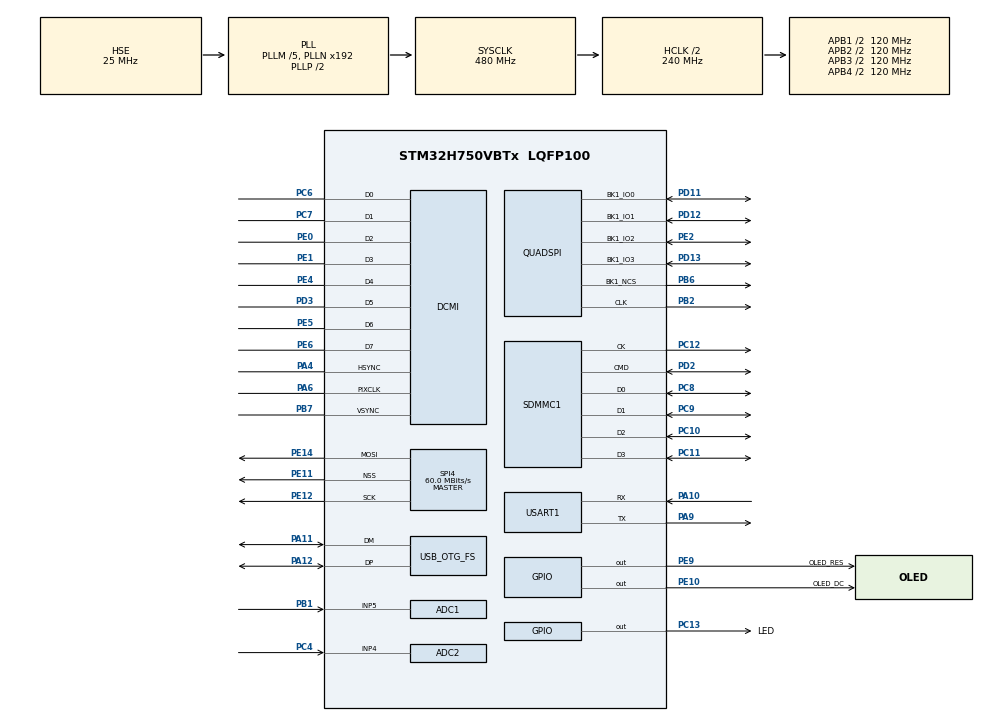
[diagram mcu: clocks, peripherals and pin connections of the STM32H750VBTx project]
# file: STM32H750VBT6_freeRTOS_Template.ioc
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ADC1.Channel-1\#ChannelRegularConversion=ADC_CHANNEL_5
ADC1.ClockPrescaler=ADC_CLOCK_ASYNC_DIV2
ADC1.ClockPrescalerADC3=ADC_CLOCK_ASYNC_DIV2
ADC1.ContinuousConvMode=ENABLE
ADC1.ConversionDataManagement=ADC_CONVERSIONDATA_DMA_CIRCULAR
ADC1.DiscontinuousConvMode=DISABLE
ADC1.EOCSelection=ADC_EOC_SINGLE_CONV
ADC1.LowPowerAutoWait=DISABLE
ADC1.Mode=ADC_MODE_INDEPENDENT
ADC1.NbrOfConversion=1
ADC1.NbrOfConversionFlag=1
ADC1.OffsetNumber-1\#ChannelRegularConversion=ADC_OFFSET_NONE
ADC1.OffsetSignedSaturation-1\#ChannelRegularConversion=DISABLE
ADC1.Rank-1\#ChannelRegularConversion=1
ADC1.SamplingTime-1\#ChannelRegularConversion=ADC_SAMPLETIME_810CYCLES_5
ADC1.master=1
ADC2.Channel-2\#ChannelRegularConversion=ADC_CHANNEL_4
ADC2.ClockPrescaler=ADC_CLOCK_ASYNC_DIV2
ADC2.ClockPrescalerADC3=ADC_CLOCK_ASYNC_DIV2
ADC2.ContinuousConvMode=ENABLE
ADC2.ConversionDataManagement=ADC_CONVERSIONDATA_DMA_CIRCULAR
ADC2.NbrOfConversionFlag=1
ADC2.OffsetNumber-2\#ChannelRegularConversion=ADC_OFFSET_NONE
ADC2.OffsetSignedSaturation-2\#ChannelRegularConversion=DISABLE
ADC2.Rank-2\#ChannelRegularConversion=1
ADC2.SamplingTime-2\#ChannelRegularConversion=ADC_SAMPLETIME_810CYCLES_5
ADC3.Channel-0\#ChannelRegularConversion=ADC_CHANNEL_TEMPSENSOR
ADC3.ClockPrescalerADC3=ADC_CLOCK_ASYNC_DIV2
ADC3.ContinuousConvMode=ENABLE
ADC3.NbrOfConversionFlag=1
ADC3.OffsetNumber-0\#ChannelRegularConversion=ADC_OFFSET_NONE
ADC3.OffsetSignedSaturation-0\#ChannelRegularConversion=DISABLE
ADC3.Rank-0\#ChannelRegularConversion=1
ADC3.SamplingTime-0\#ChannelRegularConversion=ADC_SAMPLETIME_810CYCLES_5
CORTEX_M7.AccessPermission_S-Cortex_Memory_Protection_Unit_Region1_Settings_S=MPU_REGION_FULL_ACCESS
CORTEX_M7.AccessPermission_S-Cortex_Memory_Protection_Unit_Region2_Settings_S=MPU_REGION_FULL_ACCESS
CORTEX_M7.AccessPermission_Spec=MPU_REGION_FULL_ACCESS
CORTEX_M7.BaseAddress_S-Cortex_Memory_Protection_Unit_Region1_Settings_S=0x30000000
CORTEX_M7.BaseAddress_S-Cortex_Memory_Protection_Unit_Region2_Settings_S=0x24040000
CORTEX_M7.BaseAddress_Spec=0x0000
CORTEX_M7.CPU_DCache=Enabled
CORTEX_M7.CPU_ICache=Enabled
CORTEX_M7.DisableExec_Spec=MPU_INSTRUCTION_ACCESS_ENABLE
CORTEX_M7.Enable_S-Cortex_Memory_Protection_Unit_Region1_Settings_S=MPU_REGION_ENABLE
CORTEX_M7.Enable_S-Cortex_Memory_Protection_Unit_Region2_Settings_S=MPU_REGION_ENABLE
CORTEX_M7.IsBufferable_Spec=MPU_ACCESS_BUFFERABLE
CORTEX_M7.IsCacheable_Spec=MPU_ACCESS_CACHEABLE
CORTEX_M7.IsShareable_S-Cortex_Memory_Protection_Unit_Region1_Settings_S=MPU_ACCESS_SHAREABLE
CORTEX_M7.IsShareable_S-Cortex_Memory_Protection_Unit_Region2_Settings_S=MPU_ACCESS_SHAREABLE
CORTEX_M7.IsShareable_Spec=MPU_ACCESS_NOT_SHAREABLE
CORTEX_M7.Size_S-Cortex_Memory_Protection_Unit_Region1_Settings_S=MPU_REGION_SIZE_32KB
CORTEX_M7.Size_S-Cortex_Memory_Protection_Unit_Region2_Settings_S=MPU_REGION_SIZE_256KB
CORTEX_M7.Size_Spec=MPU_REGION_SIZE_4GB
CORTEX_M7.SubRegionDisable_S-Cortex_Memory_Protection_Unit_Region2_Settings_S=0x0
CORTEX_M7.SubRegionDisable_Spec=0x87
CORTEX_M7.TypeExtField_Spec=MPU_TEX_LEVEL1
CORTEX_M7.default_mode_Activation=1
Dma.ADC1.0.Direction=DMA_PERIPH_TO_MEMORY
Dma.ADC1.0.EventEnable=DISABLE
Dma.ADC1.0.FIFOMode=DMA_FIFOMODE_DISABLE
Dma.ADC1.0.Instance=DMA1_Stream0
Dma.ADC1.0.MemDataAlignment=DMA_MDATAALIGN_HALFWORD
Dma.ADC1.0.MemInc=DMA_MINC_ENABLE
Dma.ADC1.0.Mode=DMA_CIRCULAR
Dma.ADC1.0.PeriphDataAlignment=DMA_PDATAALIGN_HALFWORD
Dma.ADC1.0.PeriphInc=DMA_PINC_DISABLE
Dma.ADC1.0.Polarity=HAL_DMAMUX_REQ_GEN_RISING
Dma.ADC1.0.Priority=DMA_PRIORITY_LOW
Dma.ADC1.0.RequestNumber=1
Dma.ADC1.0.SignalID=NONE
Dma.ADC1.0.SyncEnable=DISABLE
Dma.ADC1.0.SyncPolarity=HAL_DMAMUX_SYNC_NO_EVENT
Dma.ADC1.0.SyncRequestNumber=1
Dma.ADC1.0.SyncSignalID=NONE
Dma.ADC2.1.Direction=DMA_PERIPH_TO_MEMORY
Dma.ADC2.1.EventEnable=DISABLE
Dma.ADC2.1.FIFOMode=DMA_FIFOMODE_DISABLE
Dma.ADC2.1.Instance=DMA1_Stream1
Dma.ADC2.1.MemDataAlignment=DMA_MDATAALIGN_HALFWORD
Dma.ADC2.1.MemInc=DMA_MINC_ENABLE
Dma.ADC2.1.Mode=DMA_CIRCULAR
Dma.ADC2.1.PeriphDataAlignment=DMA_PDATAALIGN_HALFWORD
Dma.ADC2.1.PeriphInc=DMA_PINC_DISABLE
Dma.ADC2.1.Polarity=HAL_DMAMUX_REQ_GEN_RISING
Dma.ADC2.1.Priority=DMA_PRIORITY_LOW
Dma.ADC2.1.RequestNumber=1
Dma.ADC2.1.SignalID=NONE
Dma.ADC2.1.SyncEnable=DISABLE
Dma.ADC2.1.SyncPolarity=HAL_DMAMUX_SYNC_NO_EVENT
Dma.ADC2.1.SyncRequestNumber=1
Dma.ADC2.1.SyncSignalID=NONE
Dma.DCMI.2.Direction=DMA_PERIPH_TO_MEMORY
Dma.DCMI.2.EventEnable=DISABLE
Dma.DCMI.2.FIFOMode=DMA_FIFOMODE_ENABLE
Dma.DCMI.2.FIFOThreshold=DMA_FIFO_THRESHOLD_FULL
Dma.DCMI.2.Instance=DMA2_Stream7
Dma.DCMI.2.MemBurst=DMA_MBURST_SINGLE
Dma.DCMI.2.MemDataAlignment=DMA_MDATAALIGN_WORD
Dma.DCMI.2.MemInc=DMA_MINC_ENABLE
Dma.DCMI.2.Mode=DMA_NORMAL
Dma.DCMI.2.PeriphBurst=DMA_PBURST_SINGLE
Dma.DCMI.2.PeriphDataAlignment=DMA_PDATAALIGN_WORD
Dma.DCMI.2.PeriphInc=DMA_PINC_DISABLE
Dma.DCMI.2.Polarity=HAL_DMAMUX_REQ_GEN_RISING
Dma.DCMI.2.Priority=DMA_PRIORITY_LOW
Dma.DCMI.2.RequestNumber=1
Dma.DCMI.2.SignalID=NONE
Dma.DCMI.2.SyncEnable=DISABLE
Dma.DCMI.2.SyncPolarity=HAL_DMAMUX_SYNC_NO_EVENT
Dma.DCMI.2.SyncRequestNumber=1
Dma.DCMI.2.SyncSignalID=NONE
Dma.Request0=ADC1
Dma.Request1=ADC2
Dma.Request2=DCMI
FREERTOS.Mutexes01=UsbTxMutex,Dynamic,NULL,Available;LCDMutex,Dynamic,NULL,Available
FREERTOS.Queues01=ADCData_Queue,16,uint16_t,0,Dynamic,NULL,NULL
FREERTOS.Tasks01=Init_Task,40,128,Init_Handler,Default,NULL,Dynamic,NULL,NULL;SysMon_Task,8,512,SysMon_Handler,Default,NULL,Dynamic,NULL,NULL;ADC1_Task,32,128,ADC1_Handler,Default,NULL,Dynamic,NULL,NULL;ADC2_Task,32,128,ADC2_Handler,Default,NULL,Dynamic,NULL,NULL;ADC3_Task,16,128,ADC3_Handler,Default,NULL,Dynamic,NULL,NULL;Console_Task,16,1024,Console_Handler,Default,NULL,Dynamic,NULL,NULL
FREERTOS.configCHECK_FOR_STACK_OVERFLOW=2
FREERTOS.configENABLE_FPU=1
FREERTOS.configGENERATE_RUN_TIME_STATS=1
FREERTOS.configMAX_TASK_NAME_LEN=32
FREERTOS.configUSE_MALLOC_FAILED_HOOK=1
FREERTOS.configUSE_NEWLIB_REENTRANT=0
FREERTOS.configUSE_STATS_FORMATTING_FUNCTIONS=1
Mcu.Family=STM32H7
Mcu.Name=STM32H750VBTx
Mcu.Package=LQFP100
NVIC.DCMI_IRQn=true\:5\:0\:false\:false\:true\:true\:true\:true\:true
NVIC.DMA1_Stream0_IRQn=true\:5\:0\:false\:false\:true\:true\:false\:true\:true
NVIC.DMA1_Stream1_IRQn=true\:5\:0\:false\:false\:true\:true\:false\:true\:true
NVIC.DMA2_Stream7_IRQn=true\:5\:0\:false\:false\:true\:true\:false\:true\:true
NVIC.OTG_FS_IRQn=true\:5\:0\:false\:false\:true\:true\:true\:true\:true
NVIC.PriorityGroup=NVIC_PRIORITYGROUP_4
NVIC.QUADSPI_IRQn=true\:5\:0\:false\:false\:true\:true\:true\:true\:true
NVIC.SDMMC1_IRQn=true\:5\:0\:false\:false\:true\:true\:true\:true\:true
NVIC.TIM6_DAC_IRQn=true\:15\:0\:false\:false\:true\:false\:false\:true\:true
NVIC.TimeBase=TIM6_DAC_IRQn
NVIC.TimeBaseIP=TIM6
PA10.GPIO_Speed=GPIO_SPEED_FREQ_VERY_HIGH
PA10.Mode=Asynchronous
PA10.Signal=USART1_RX
PA11.Mode=Device_Only
PA11.Signal=USB_OTG_FS_DM
PA12.Mode=Device_Only
PA12.Signal=USB_OTG_FS_DP
PA13\ (JTMS/SWDIO).Mode=Serial_Wire
PA13\ (JTMS/SWDIO).Signal=DEBUG_JTMS-SWDIO
PA14\ (JTCK/SWCLK).Mode=Serial_Wire
PA14\ (JTCK/SWCLK).Signal=DEBUG_JTCK-SWCLK
PA4.GPIO_Speed=GPIO_SPEED_FREQ_VERY_HIGH
PA4.Mode=Slave_8_bits_External_Synchro
PA4.Signal=DCMI_HSYNC
PA6.GPIO_Speed=GPIO_SPEED_FREQ_VERY_HIGH
PA6.Mode=Slave_8_bits_External_Synchro
PA6.Signal=DCMI_PIXCLK
PA9.GPIO_Speed=GPIO_SPEED_FREQ_VERY_HIGH
PA9.Mode=Asynchronous
PA9.Signal=USART1_TX
PB1.Signal=ADCx_INP5
PB2.GPIO_Speed=GPIO_SPEED_FREQ_VERY_HIGH
PB2.Mode=Single Bank 1
PB2.Signal=QUADSPI_CLK
PB6.GPIO_Speed=GPIO_SPEED_FREQ_VERY_HIGH
PB6.Mode=Single Bank 1
PB6.Signal=QUADSPI_BK1_NCS
PB7.GPIO_Speed=GPIO_SPEED_FREQ_VERY_HIGH
PB7.Mode=Slave_8_bits_External_Synchro
PB7.Signal=DCMI_VSYNC
PC10.Mode=SD_4_bits_Wide_bus
PC10.Signal=SDMMC1_D2
PC11.Mode=SD_4_bits_Wide_bus
PC11.Signal=SDMMC1_D3
PC12.Mode=SD_4_bits_Wide_bus
PC12.Signal=SDMMC1_CK
PC13.GPIO_Label=LED
PC13.Signal=GPIO_Output
PC14-OSC32_IN\ (OSC32_IN).Mode=LSE-External-Oscillator
PC14-OSC32_IN\ (OSC32_IN).Signal=RCC_OSC32_IN
PC15-OSC32_OUT\ (OSC32_OUT).Mode=LSE-External-Oscillator
PC15-OSC32_OUT\ (OSC32_OUT).Signal=RCC_OSC32_OUT
PC4.Signal=ADCx_INP4
PC6.GPIO_Speed=GPIO_SPEED_FREQ_VERY_HIGH
PC6.Mode=Slave_8_bits_External_Synchro
PC6.Signal=DCMI_D0
PC7.GPIO_Speed=GPIO_SPEED_FREQ_VERY_HIGH
PC7.Mode=Slave_8_bits_External_Synchro
PC7.Signal=DCMI_D1
PC8.Mode=SD_4_bits_Wide_bus
PC8.Signal=SDMMC1_D0
PC9.Mode=SD_4_bits_Wide_bus
PC9.Signal=SDMMC1_D1
PD11.GPIO_Speed=GPIO_SPEED_FREQ_VERY_HIGH
PD11.Mode=Single Bank 1
PD11.Signal=QUADSPI_BK1_IO0
PD12.GPIO_Speed=GPIO_SPEED_FREQ_VERY_HIGH
PD12.Mode=Single Bank 1
PD12.Signal=QUADSPI_BK1_IO1
PD13.GPIO_Speed=GPIO_SPEED_FREQ_VERY_HIGH
PD13.Mode=Single Bank 1
PD13.Signal=QUADSPI_BK1_IO3
PD2.Mode=SD_4_bits_Wide_bus
PD2.Signal=SDMMC1_CMD
PD3.GPIO_Speed=GPIO_SPEED_FREQ_VERY_HIGH
PD3.Mode=Slave_8_bits_External_Synchro
PD3.Signal=DCMI_D5
PE0.GPIO_Speed=GPIO_SPEED_FREQ_VERY_HIGH
PE0.Mode=Slave_8_bits_External_Synchro
PE0.Signal=DCMI_D2
PE1.GPIO_Speed=GPIO_SPEED_FREQ_VERY_HIGH
PE1.Mode=Slave_8_bits_External_Synchro
PE1.Signal=DCMI_D3
PE10.GPIO_Label=OLED_DC
PE10.GPIO_Speed=GPIO_SPEED_FREQ_VERY_HIGH
PE10.Signal=GPIO_Output
PE11.GPIO_Speed=GPIO_SPEED_FREQ_VERY_HIGH
PE11.Mode=NSS_Signal_Hard_Output
PE11.Signal=SPI4_NSS
PE12.GPIO_Speed=GPIO_SPEED_FREQ_VERY_HIGH
PE12.Mode=TX_Only_Simplex_Unidirect_Master
PE12.Signal=SPI4_SCK
PE14.GPIO_Speed=GPIO_SPEED_FREQ_VERY_HIGH
PE14.Mode=TX_Only_Simplex_Unidirect_Master
PE14.Signal=SPI4_MOSI
PE2.GPIO_Speed=GPIO_SPEED_FREQ_VERY_HIGH
PE2.Mode=Single Bank 1
PE2.Signal=QUADSPI_BK1_IO2
PE4.GPIO_Speed=GPIO_SPEED_FREQ_VERY_HIGH
PE4.Mode=Slave_8_bits_External_Synchro
PE4.Signal=DCMI_D4
PE5.GPIO_Speed=GPIO_SPEED_FREQ_VERY_HIGH
PE5.Mode=Slave_8_bits_External_Synchro
PE5.Signal=DCMI_D6
PE6.GPIO_Speed=GPIO_SPEED_FREQ_VERY_HIGH
PE6.Mode=Slave_8_bits_External_Synchro
PE6.Signal=DCMI_D7
PE9.GPIO_Label=OLED_RES
PE9.Signal=GPIO_Output
PH0-OSC_IN\ (PH0).Mode=HSE-External-Oscillator
PH0-OSC_IN\ (PH0).Signal=RCC_OSC_IN
PH1-OSC_OUT\ (PH1).Mode=HSE-External-Oscillator
PH1-OSC_OUT\ (PH1).Signal=RCC_OSC_OUT
ProjectManager.HeapSize=0x600
ProjectManager.StackSize=0x1000
ProjectManager.TargetToolchain=MDK-ARM V5.32
QUADSPI.ChipSelectHighTime=QSPI_CS_HIGH_TIME_2_CYCLE
QUADSPI.ClockMode=QSPI_CLOCK_MODE_0
QUADSPI.ClockPrescaler=2
QUADSPI.FifoThreshold=32
QUADSPI.FlashSize=23
QUADSPI.SampleShifting=QSPI_SAMPLE_SHIFTING_HALFCYCLE
RCC.ADCFreq_Value=72000000
RCC.APB1Freq_Value=120000000
RCC.APB2Freq_Value=120000000
RCC.APB3Freq_Value=120000000
RCC.APB4Freq_Value=120000000
RCC.CortexFreq_Value=480000000
RCC.D1PPRE=RCC_APB3_DIV2
RCC.D2PPRE1=RCC_APB1_DIV2
RCC.D2PPRE2=RCC_APB2_DIV2
RCC.D3PPRE=RCC_APB4_DIV2
RCC.DIVM1=5
RCC.DIVM2=5
RCC.DIVN1=192
RCC.DIVN2=72
RCC.DIVP2=5
RCC.DIVQ1=4
RCC.EnbaleCSS=true
RCC.HCLKFreq_Value=240000000
RCC.HPRE=RCC_HCLK_DIV2
RCC.HSE_VALUE=25000000
RCC.PLLSourceVirtual=RCC_PLLSOURCE_HSE
RCC.RTCClockSelection=RCC_RTCCLKSOURCE_LSE
RCC.SYSCLKFreq_VALUE=480000000
RCC.SYSCLKSource=RCC_SYSCLKSOURCE_PLLCLK
RCC.USBCLockSelection=RCC_USBCLKSOURCE_HSI48
RCC.USBFreq_Value=48000000
SDMMC1.ClockDiv=6
SH.ADCx_INP4.0=ADC2_INP4,IN4-Single-Ended
SH.ADCx_INP5.0=ADC1_INP5,IN5-Single-Ended
SPI4.BaudRatePrescaler=SPI_BAUDRATEPRESCALER_2
SPI4.CalculateBaudRate=60.0 MBits/s
SPI4.DataSize=SPI_DATASIZE_8BIT
SPI4.Direction=SPI_DIRECTION_2LINES_TXONLY
SPI4.FifoThreshold=SPI_FIFO_THRESHOLD_02DATA
SPI4.Mode=SPI_MODE_MASTER
SPI4.VirtualNSS=VM_NSSHARD
SPI4.VirtualType=VM_MASTER
USART1.VirtualMode-Asynchronous=VM_ASYNC
USB_DEVICE.CLASS_NAME_FS=CDC
USB_DEVICE.VirtualMode-CDC_FS=Cdc
USB_DEVICE.VirtualModeFS=Cdc_FS
USB_OTG_FS.VirtualMode=Device_Only
VP_ADC3_TempSens_Input.Mode=IN-TempSens
VP_ADC3_Vref_Input.Mode=IN-Vrefint
VP_FREERTOS_VS_CMSIS_V2.Mode=CMSIS_V2
VP_MEMORYMAP_VS_MEMORYMAP.Mode=CurAppReg
VP_SYS_VS_tim6.Mode=TIM6
VP_TIM2_VS_ClockSourceINT.Mode=Internal
VP_USB_DEVICE_VS_USB_DEVICE_CDC_FS.Mode=CDC_FS
board=custom

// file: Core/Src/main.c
/* USER CODE BEGIN Header */
/**
  ******************************************************************************
  * @file           : main.c
  * @brief          : Main program body
  ******************************************************************************
  * @attention
  *
  * Copyright (c) 2023 STMicroelectronics.
  * All rights reserved.
  *
  * This software is licensed under terms that can be found in the LICENSE file
  * in the root directory of this software component.
  * If no LICENSE file comes with this software, it is provided AS-IS.
  *
  ******************************************************************************
  */
/* USER CODE END Header */
#include "main.h"
#include "FreeRTOS.h"
#include "cmsis_os2.h"
#include "adc.h"
#include "dcmi.h"
#include "dma.h"
#include "quadspi.h"
#include "sdmmc.h"
#include "spi.h"
#include "tim.h"
#include "usart.h"
#include "usb_device.h"
#include "gpio.h"

/* USER CODE BEGIN Includes */
#include "cmsis_os2.h"
#include "FreeRTOS.h"
#include "task.h"
#include "ff.h"
#include "ff_gen_drv.h"
#include "sd_diskio.h"
#include "usbd_cdc_if.h"
#include "display_service.h"
#include "VSWR.h"
/* USER CODE END Includes */

/* USER CODE BEGIN PD */
#define Camera_Buffer	0x24000000    // 摄像头图像缓冲区
#define ADC_DR_ADDR 0x30000000
/* USER CODE END PD */

/* USER CODE BEGIN PV */
extern volatile uint16_t adc1_value[64];
extern volatile uint16_t adc2_value[64];

/* USER CODE END PV */

void SystemClock_Config(void);
void PeriphCommonClock_Config(void);
static void MPU_Config(void);
void MX_FREERTOS_Init(void);

int main(void)
{

  /* MPU Configuration--------------------------------------------------------*/
  MPU_Config();

  /* Enable the CPU Cache */

  /* Enable I-Cache---------------------------------------------------------*/
  SCB_EnableICache();

  /* Enable D-Cache---------------------------------------------------------*/
  SCB_EnableDCache();

  /* MCU Configuration--------------------------------------------------------*/

  /* Reset of all peripherals, Initializes the Flash interface and the Systick. */
  HAL_Init();

  /* Configure the system clock */
  SystemClock_Config();

  /* Configure the peripherals common clocks */
  PeriphCommonClock_Config();

  /* Initialize all configured peripherals */
  MX_GPIO_Init();
  MX_DMA_Init();
  MX_DCMI_Init();
  MX_QUADSPI_Init();
  MX_SDMMC1_SD_Init();
  MX_SPI4_Init();
  MX_USART1_UART_Init();
  MX_ADC1_Init();
  MX_ADC2_Init();
  MX_ADC3_Init();
  MX_TIM2_Init();
  /* USER CODE BEGIN 2 */
  DisplayService_Init();
  HAL_ADCEx_Calibration_Start(&hadc1,ADC_CALIB_OFFSET,ADC_SINGLE_ENDED);
  HAL_ADCEx_Calibration_Start(&hadc1,ADC_CALIB_OFFSET_LINEARITY,ADC_SINGLE_ENDED);
  HAL_ADCEx_Calibration_Start(&hadc2,ADC_CALIB_OFFSET,ADC_SINGLE_ENDED);
  HAL_ADCEx_Calibration_Start(&hadc2,ADC_CALIB_OFFSET_LINEARITY,ADC_SINGLE_ENDED);
  HAL_ADCEx_Calibration_Start(&hadc3,ADC_CALIB_OFFSET,ADC_SINGLE_ENDED);
  HAL_ADCEx_Calibration_Start(&hadc3,ADC_CALIB_OFFSET_LINEARITY,ADC_SINGLE_ENDED);
  DisplayService_ShowText(0, 0, "ADC Calibrated!");

  //VSWR_Meter_Init(&vswr_meter, &hadc1, &hadc2, &htim6);
  //vswr_meter.huart = &huart1;
  // 启动周期测量
  //VSWR_Meter_StartMeasurement(&vswr_meter);

  /* USER CODE END 2 */

  /* Init scheduler */
  osKernelInitialize();  /* Call init function for freertos objects (in cmsis_os2.c) */
  MX_FREERTOS_Init();

  /* Start scheduler */
  osKernelStart();

  /* We should never get here as control is now taken by the scheduler */

  /* Infinite loop */
  while (1){

  }
}

void SystemClock_Config(void)
{
  RCC_OscInitTypeDef RCC_OscInitStruct = {0};
  RCC_ClkInitTypeDef RCC_ClkInitStruct = {0};

  /** Supply configuration update enable
  */
  HAL_PWREx_ConfigSupply(PWR_LDO_SUPPLY);

  /** Configure the main internal regulator output voltage
  */
  __HAL_PWR_VOLTAGESCALING_CONFIG(PWR_REGULATOR_VOLTAGE_SCALE0);

  while(!__HAL_PWR_GET_FLAG(PWR_FLAG_VOSRDY)) {}

  /** Initializes the RCC Oscillators according to the specified parameters
  * in the RCC_OscInitTypeDef structure.
  */
  RCC_OscInitStruct.OscillatorType = RCC_OSCILLATORTYPE_HSI48|RCC_OSCILLATORTYPE_HSE;
  RCC_OscInitStruct.HSEState = RCC_HSE_ON;
  RCC_OscInitStruct.HSI48State = RCC_HSI48_ON;
  RCC_OscInitStruct.PLL.PLLState = RCC_PLL_ON;
  RCC_OscInitStruct.PLL.PLLSource = RCC_PLLSOURCE_HSE;
  RCC_OscInitStruct.PLL.PLLM = 5;
  RCC_OscInitStruct.PLL.PLLN = 192;
  RCC_OscInitStruct.PLL.PLLP = 2;
  RCC_OscInitStruct.PLL.PLLQ = 4;
  RCC_OscInitStruct.PLL.PLLR = 2;
  RCC_OscInitStruct.PLL.PLLRGE = RCC_PLL1VCIRANGE_2;
  RCC_OscInitStruct.PLL.PLLVCOSEL = RCC_PLL1VCOWIDE;
  RCC_OscInitStruct.PLL.PLLFRACN = 0;
  if (HAL_RCC_OscConfig(&RCC_OscInitStruct) != HAL_OK)
  {
    Error_Handler();
  }

  /** Initializes the CPU, AHB and APB buses clocks
  */
  RCC_ClkInitStruct.ClockType = RCC_CLOCKTYPE_HCLK|RCC_CLOCKTYPE_SYSCLK
                              |RCC_CLOCKTYPE_PCLK1|RCC_CLOCKTYPE_PCLK2
                              |RCC_CLOCKTYPE_D3PCLK1|RCC_CLOCKTYPE_D1PCLK1;
  RCC_ClkInitStruct.SYSCLKSource = RCC_SYSCLKSOURCE_PLLCLK;
  RCC_ClkInitStruct.SYSCLKDivider = RCC_SYSCLK_DIV1;
  RCC_ClkInitStruct.AHBCLKDivider = RCC_HCLK_DIV2;
  RCC_ClkInitStruct.APB3CLKDivider = RCC_APB3_DIV2;
  RCC_ClkInitStruct.APB1CLKDivider = RCC_APB1_DIV2;
  RCC_ClkInitStruct.APB2CLKDivider = RCC_APB2_DIV2;
  RCC_ClkInitStruct.APB4CLKDivider = RCC_APB4_DIV2;

  if (HAL_RCC_ClockConfig(&RCC_ClkInitStruct, FLASH_LATENCY_4) != HAL_OK)
  {
    Error_Handler();
  }

  /** Enables the Clock Security System
  */
  HAL_RCC_EnableCSS();
}

void PeriphCommonClock_Config(void)
{
  RCC_PeriphCLKInitTypeDef PeriphClkInitStruct = {0};

  /** Initializes the peripherals clock
  */
  PeriphClkInitStruct.PeriphClockSelection = RCC_PERIPHCLK_ADC;
  PeriphClkInitStruct.PLL2.PLL2M = 5;
  PeriphClkInitStruct.PLL2.PLL2N = 72;
  PeriphClkInitStruct.PLL2.PLL2P = 5;
  PeriphClkInitStruct.PLL2.PLL2Q = 2;
  PeriphClkInitStruct.PLL2.PLL2R = 2;
  PeriphClkInitStruct.PLL2.PLL2RGE = RCC_PLL2VCIRANGE_2;
  PeriphClkInitStruct.PLL2.PLL2VCOSEL = RCC_PLL2VCOWIDE;
  PeriphClkInitStruct.PLL2.PLL2FRACN = 0;
  PeriphClkInitStruct.AdcClockSelection = RCC_ADCCLKSOURCE_PLL2;
  if (HAL_RCCEx_PeriphCLKConfig(&PeriphClkInitStruct) != HAL_OK)
  {
    Error_Handler();
  }
}

 /* MPU Configuration */

void MPU_Config(void)
{
  MPU_Region_InitTypeDef MPU_InitStruct = {0};

  /* Disables the MPU */
  HAL_MPU_Disable();

  /** Initializes and configures the Region and the memory to be protected
  */
  MPU_InitStruct.Enable = MPU_REGION_ENABLE;
  MPU_InitStruct.Number = MPU_REGION_NUMBER0;
  MPU_InitStruct.BaseAddress = 0x0000;
  MPU_InitStruct.Size = MPU_REGION_SIZE_4GB;
  MPU_InitStruct.SubRegionDisable = 0x87;
  MPU_InitStruct.TypeExtField = MPU_TEX_LEVEL1;
  MPU_InitStruct.AccessPermission = MPU_REGION_FULL_ACCESS;
  MPU_InitStruct.DisableExec = MPU_INSTRUCTION_ACCESS_ENABLE;
  MPU_InitStruct.IsShareable = MPU_ACCESS_NOT_SHAREABLE;
  MPU_InitStruct.IsCacheable = MPU_ACCESS_CACHEABLE;
  MPU_InitStruct.IsBufferable = MPU_ACCESS_BUFFERABLE;

  HAL_MPU_ConfigRegion(&MPU_InitStruct);

  /** Initializes and configures the Region and the memory to be protected
  */
  MPU_InitStruct.Number = MPU_REGION_NUMBER1;
  MPU_InitStruct.BaseAddress = 0x30000000;
  MPU_InitStruct.Size = MPU_REGION_SIZE_32KB;
  MPU_InitStruct.SubRegionDisable = 0x0;
  MPU_InitStruct.TypeExtField = MPU_TEX_LEVEL0;
  MPU_InitStruct.IsShareable = MPU_ACCESS_SHAREABLE;
  MPU_InitStruct.IsCacheable = MPU_ACCESS_NOT_CACHEABLE;
  MPU_InitStruct.IsBufferable = MPU_ACCESS_NOT_BUFFERABLE;

  HAL_MPU_ConfigRegion(&MPU_InitStruct);

  /** Initializes and configures the Region and the memory to be protected
  */
  MPU_InitStruct.Number = MPU_REGION_NUMBER2;
  MPU_InitStruct.BaseAddress = 0x24040000;
  MPU_InitStruct.Size = MPU_REGION_SIZE_256KB;

  HAL_MPU_ConfigRegion(&MPU_InitStruct);
  /* Enables the MPU */
  HAL_MPU_Enable(MPU_PRIVILEGED_DEFAULT);

}

void HAL_TIM_PeriodElapsedCallback(TIM_HandleTypeDef *htim)
{
  if (htim->Instance == TIM6)
  {
    HAL_IncTick();
  }
}

void Error_Handler(void)
{
  __disable_irq();
  while (1)
  {
  }
}

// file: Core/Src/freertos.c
/* USER CODE BEGIN Header */
/**
  ******************************************************************************
  * File Name          : freertos.c
  * Description        : Code for freertos applications
  ******************************************************************************
  * @attention
  *
  * Copyright (c) 2025 STMicroelectronics.
  * All rights reserved.
  *
  * This software is licensed under terms that can be found in the LICENSE file
  * in the root directory of this software component.
  * If no LICENSE file comes with this software, it is provided AS-IS.
  *
  ******************************************************************************
  */
/* USER CODE END Header */

#include "FreeRTOS.h"
#include "task.h"
#include "main.h"
#include "FreeRTOS.h"
#include "cmsis_os2.h"

/* USER CODE BEGIN Includes */
#include "app.h"
/* USER CODE END Includes */

/* Definitions for Init_Task */
osThreadId_t Init_TaskHandle;
const osThreadAttr_t Init_Task_attributes = {
  .name = "Init_Task",
  .stack_size = 128 * 4,
  .priority = (osPriority_t) osPriorityHigh,
};
/* Definitions for SysMon_Task */
osThreadId_t SysMon_TaskHandle;
const osThreadAttr_t SysMon_Task_attributes = {
  .name = "SysMon_Task",
  .stack_size = 512 * 4,
  .priority = (osPriority_t) osPriorityLow,
};
/* Definitions for ADC1_Task */
osThreadId_t ADC1_TaskHandle;
const osThreadAttr_t ADC1_Task_attributes = {
  .name = "ADC1_Task",
  .stack_size = 128 * 4,
  .priority = (osPriority_t) osPriorityAboveNormal,
};
/* Definitions for ADC2_Task */
osThreadId_t ADC2_TaskHandle;
const osThreadAttr_t ADC2_Task_attributes = {
  .name = "ADC2_Task",
  .stack_size = 128 * 4,
  .priority = (osPriority_t) osPriorityAboveNormal,
};
/* Definitions for ADC3_Task */
osThreadId_t ADC3_TaskHandle;
const osThreadAttr_t ADC3_Task_attributes = {
  .name = "ADC3_Task",
  .stack_size = 128 * 4,
  .priority = (osPriority_t) osPriorityBelowNormal,
};
/* Definitions for Console_Task */
osThreadId_t Console_TaskHandle;
const osThreadAttr_t Console_Task_attributes = {
  .name = "Console_Task",
  .stack_size = 1024 * 4,
  .priority = (osPriority_t) osPriorityBelowNormal,
};
/* Definitions for ADCData_Queue */
osMessageQueueId_t ADCData_QueueHandle;
const osMessageQueueAttr_t ADCData_Queue_attributes = {
  .name = "ADCData_Queue"
};
/* Definitions for UsbTxMutex */
osMutexId_t UsbTxMutexHandle;
const osMutexAttr_t UsbTxMutex_attributes = {
  .name = "UsbTxMutex"
};
/* Definitions for LCDMutex */
osMutexId_t LCDMutexHandle;
const osMutexAttr_t LCDMutex_attributes = {
  .name = "LCDMutex"
};

void Init_Handler(void *argument);
void SysMon_Handler(void *argument);
void ADC1_Handler(void *argument);
void ADC2_Handler(void *argument);
void ADC3_Handler(void *argument);
void Console_Handler(void *argument);

extern void MX_USB_DEVICE_Init(void);
void MX_FREERTOS_Init(void); /* (MISRA C 2004 rule 8.1) */

/* Hook prototypes */
void configureTimerForRunTimeStats(void);
unsigned long getRunTimeCounterValue(void);
void vApplicationStackOverflowHook(xTaskHandle xTask, char *pcTaskName);
void vApplicationMallocFailedHook(void);

/* USER CODE BEGIN 4 */
__weak void vApplicationStackOverflowHook(xTaskHandle xTask, char *pcTaskName)
{
   /* Run time stack overflow checking is performed if
   configCHECK_FOR_STACK_OVERFLOW is defined to 1 or 2. This hook function is
   called if a stack overflow is detected. */
}
/* USER CODE END 4 */

/* USER CODE BEGIN 5 */
__weak void vApplicationMallocFailedHook(void)
{
   /* vApplicationMallocFailedHook() will only be called if
   configUSE_MALLOC_FAILED_HOOK is set to 1 in FreeRTOSConfig.h. It is a hook
   function that will get called if a call to pvPortMalloc() fails.
   pvPortMalloc() is called internally by the kernel whenever a task, queue,
   timer or semaphore is created. It is also called by various parts of the
   demo application. If heap_1.c or heap_2.c are used, then the size of the
   heap available to pvPortMalloc() is defined by configTOTAL_HEAP_SIZE in
   FreeRTOSConfig.h, and the xPortGetFreeHeapSize() API function can be used
   to query the size of free heap space that remains (although it does not
   provide information on how the remaining heap might be fragmented). */
}
/* USER CODE END 5 */

void MX_FREERTOS_Init(void) {
  /* USER CODE BEGIN Init */
  AppConsole_Init();
  /* USER CODE END Init */
  /* Create the mutex(es) */
  /* creation of UsbTxMutex */
  UsbTxMutexHandle = osMutexNew(&UsbTxMutex_attributes);

  /* creation of LCDMutex */
  LCDMutexHandle = osMutexNew(&LCDMutex_attributes);

  /* Create the queue(s) */
  /* creation of ADCData_Queue */
  ADCData_QueueHandle = osMessageQueueNew (16, sizeof(uint16_t), &ADCData_Queue_attributes);

  /* Create the thread(s) */
  /* creation of Init_Task */
  Init_TaskHandle = osThreadNew(Init_Handler, NULL, &Init_Task_attributes);

  /* creation of SysMon_Task */
  SysMon_TaskHandle = osThreadNew(SysMon_Handler, NULL, &SysMon_Task_attributes);

  /* creation of ADC1_Task */
  ADC1_TaskHandle = osThreadNew(ADC1_Handler, NULL, &ADC1_Task_attributes);

  /* creation of ADC2_Task */
  ADC2_TaskHandle = osThreadNew(ADC2_Handler, NULL, &ADC2_Task_attributes);

  /* creation of ADC3_Task */
  ADC3_TaskHandle = osThreadNew(ADC3_Handler, NULL, &ADC3_Task_attributes);

  /* creation of Console_Task */
  Console_TaskHandle = osThreadNew(Console_Handler, NULL, &Console_Task_attributes);

}

void Init_Handler(void *argument)
{
  /* init code for USB_DEVICE */
  MX_USB_DEVICE_Init();
  /* USER CODE BEGIN Init_Handler */
  AppInit_Task(argument);
  /* USER CODE END Init_Handler */
}

void SysMon_Handler(void *argument)
{
  /* USER CODE BEGIN SysMon_Handler */
  AppSysMon_Task(argument);
  /* USER CODE END SysMon_Handler */
}

void ADC1_Handler(void *argument)
{
  /* USER CODE BEGIN ADC1_Handler */
  AppAdc_Task1(argument);
  /* USER CODE END ADC1_Handler */
}

void ADC2_Handler(void *argument)
{
  /* USER CODE BEGIN ADC2_Handler */
  AppAdc_Task2(argument);
  /* USER CODE END ADC2_Handler */
}

void ADC3_Handler(void *argument)
{
  /* USER CODE BEGIN ADC3_Handler */
  AppAdc_Task3(argument);
  /* USER CODE END ADC3_Handler */
}

void Console_Handler(void *argument)
{
  /* USER CODE BEGIN Console_Handler */
  AppConsole_Task(argument);
  /* USER CODE END Console_Handler */
}

/* USER CODE BEGIN Application */
void HAL_ADC_ConvCpltCallback(ADC_HandleTypeDef *hadc)
{
  AppAdc_DmaConvCpltCallback(hadc);
}
/* USER CODE END Application */
